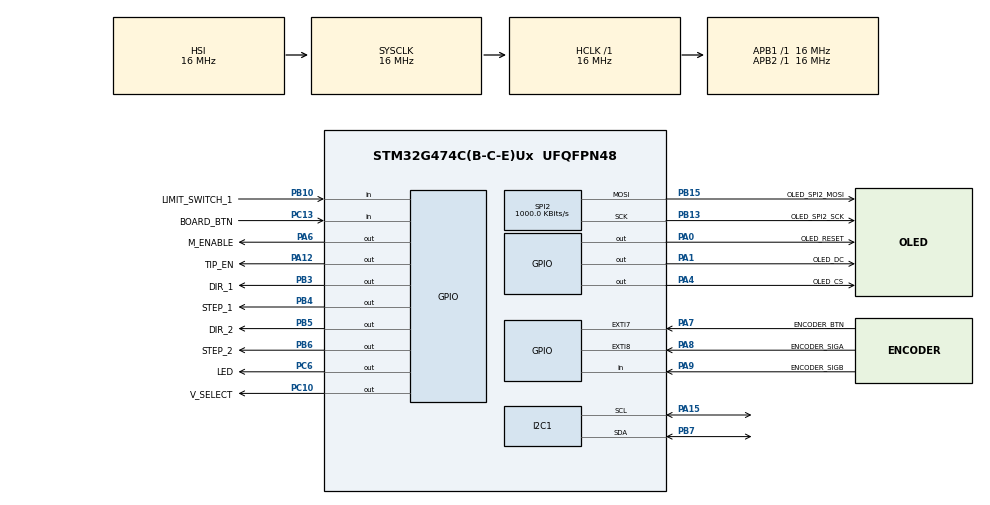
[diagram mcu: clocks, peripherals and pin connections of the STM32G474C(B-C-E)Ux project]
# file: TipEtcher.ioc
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I2C1.Timing=0x00503D58
Mcu.Family=STM32G4
Mcu.Name=STM32G474C(B-C-E)Ux
Mcu.Package=UFQFPN48
NVIC.EXTI9_5_IRQn=true\:0\:0\:false\:false\:true\:true\:true\:true
NVIC.PriorityGroup=NVIC_PRIORITYGROUP_4
NVIC.TIM2_IRQn=true\:0\:0\:false\:false\:true\:true\:true\:true
PA0.GPIO_Label=OLED_RESET
PA0.Signal=GPIO_Output
PA1.GPIO_Label=OLED_DC
PA1.Signal=GPIO_Output
PA12.GPIO_Label=TIP_EN
PA12.Signal=GPIO_Output
PA15.Mode=I2C
PA15.Signal=I2C1_SCL
PA4.GPIO_Label=OLED_CS
PA4.Signal=GPIO_Output
PA6.GPIO_Label=M_ENABLE
PA6.Signal=GPIO_Output
PA7.GPIO_Label=ENCODER_BTN
PA7.GPIO_ModeDefaultEXTI=GPIO_MODE_IT_FALLING
PA7.Signal=GPXTI7
PA8.GPIO_Label=ENCODER_SIGA
PA8.GPIO_ModeDefaultEXTI=GPIO_MODE_IT_RISING_FALLING
PA8.Signal=GPXTI8
PA9.GPIO_Label=ENCODER_SIGB
PA9.Signal=GPIO_Input
PB10.GPIO_Label=LIMIT_SWITCH_1
PB10.Signal=GPIO_Input
PB13.GPIO_Label=OLED_SPI2_SCK
PB13.Mode=TX_Only_Simplex_Unidirect_Master
PB13.Signal=SPI2_SCK
PB15.GPIO_Label=OLED_SPI2_MOSI
PB15.Mode=TX_Only_Simplex_Unidirect_Master
PB15.Signal=SPI2_MOSI
PB3.GPIO_Label=DIR_1
PB3.Signal=GPIO_Output
PB4.GPIO_Label=STEP_1
PB4.Signal=GPIO_Output
PB5.GPIO_Label=DIR_2
PB5.Signal=GPIO_Output
PB6.GPIO_Label=STEP_2
PB6.Signal=GPIO_Output
PB7.Mode=I2C
PB7.Signal=I2C1_SDA
PC10.GPIO_Label=V_SELECT
PC10.Signal=GPIO_Output
PC13.GPIO_Label=BOARD_BTN
PC13.Signal=GPIO_Input
PC6.GPIO_Label=LED
PC6.Signal=GPIO_Output
ProjectManager.HeapSize=0x200
ProjectManager.StackSize=0x400
ProjectManager.TargetToolchain=STM32CubeIDE
RCC.AHBFreq_Value=16000000
RCC.APB1Freq_Value=16000000
RCC.APB1TimFreq_Value=16000000
RCC.APB2Freq_Value=16000000
RCC.APB2TimFreq_Value=16000000
RCC.CortexFreq_Value=16000000
RCC.EXTERNAL_CLOCK_VALUE=12288000
RCC.HCLKFreq_Value=16000000
RCC.HSE_VALUE=8000000
RCC.HSI48_VALUE=48000000
RCC.HSI_VALUE=16000000
RCC.LSE_VALUE=32768
RCC.SYSCLKFreq_VALUE=16000000
RCC.USBFreq_Value=64000000
RCC.VCOOutputFreq_Value=128000000
SPI2.BaudRatePrescaler=SPI_BAUDRATEPRESCALER_16
SPI2.CLKPhase=SPI_PHASE_2EDGE
SPI2.CLKPolarity=SPI_POLARITY_HIGH
SPI2.CalculateBaudRate=1000.0 KBits/s
SPI2.DataSize=SPI_DATASIZE_8BIT
SPI2.Direction=SPI_DIRECTION_2LINES
SPI2.Mode=SPI_MODE_MASTER
SPI2.VirtualType=VM_MASTER
TIM2.Channel-Output\ Compare1\ No\ Output=TIM_CHANNEL_1
TIM2.PeriodNoDither=31999
TIM2.Prescaler=0
VP_SYS_VS_DBSignals.Mode=DisableDeadBatterySignals
VP_TIM2_VS_no_output1.Mode=Output Compare1 No Output
board=custom

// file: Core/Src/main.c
/* USER CODE BEGIN Header */
/**
  ******************************************************************************
  * @file           : main.c
  * @brief          : Main program body
  ******************************************************************************
  * @attention
  *
  * Copyright (c) 2025 STMicroelectronics.
  * All rights reserved.
  *
  * This software is licensed under terms that can be found in the LICENSE file
  * in the root directory of this software component.
  * If no LICENSE file comes with this software, it is provided AS-IS.
  *
  ******************************************************************************
  */
/* USER CODE END Header */
#include "main.h"

/* USER CODE BEGIN Includes */

#include <stdio.h>

#include "NaMiMenu_lib/NaMiMenu.h"
/* USER CODE END Includes */

I2C_HandleTypeDef hi2c1;

SPI_HandleTypeDef hspi2;

TIM_HandleTypeDef htim2;

void SystemClock_Config(void);
static void MX_GPIO_Init(void);
static void MX_SPI2_Init(void);
static void MX_TIM2_Init(void);
static void MX_I2C1_Init(void);

/* USER CODE BEGIN 0 */
// OLED VARIABLES

// TIP ETCHER VARIBLES

uint16_t var_etchTime = 60;   // s
uint16_t var_depth    = 5000; // um
uint16_t var_step     = 20;   // um
uint16_t var_polishTime = 0; // ms

uint64_t etchTime_cnt = 0;
uint64_t stepTime_cnt = 0;

uint16_t polishTime_cnt = 0;
int etchStartPosition = 0;

//

uint16_t var_current = 100;
uint8_t progress_bar = 0;

double test_chart_data[100] = {
	//0, 1, 2, 4, 8, 16, 20, 28, 24, -10, -5, -4, -3, -2, -1, -14, -15, -20, -20, -20, 15, 16, 17
};

uint8_t dataCounter = 0;
uint8_t iterator = 0;

Chart test_chart = {
		test_chart_data,
		sizeof(test_chart_data) / sizeof(double),
		50,
		0
};

ProgressBar bar1 = {255 / 2, 0};

typedef struct Motor {
	int pos;
	int setPos;
    GPIO_TypeDef* dir_port;
    uint16_t dir_pin;
    GPIO_TypeDef* step_port;
    uint16_t step_pin;
} Motor;

// 23.2u / krok
Motor Motor1 = {0, 0, DIR_1_GPIO_Port, DIR_1_Pin, STEP_1_GPIO_Port, STEP_1_Pin};
Motor Motor2 = {0, 0, DIR_2_GPIO_Port, DIR_2_Pin, STEP_2_GPIO_Port, STEP_2_Pin};

//uint8_t current_value = 0;

void StateTransision(uint8_t nextState);

void voltage_select(State *state, Clickable *clickable);
void etching_enable(State *state, Clickable *clickable);

void led_toggle(State *state, Clickable *clickable);
void etching_start_stop(State *state, Clickable *clickable);
void settings_toggle_cursor(State *state, Clickable *clickable);
void settings_voltage_select(State *state, Clickable *clickable);
void Update_Menu();
void Update_Settings();
void Update_Manual();
void Motor2_Home();

void Update_Debug();

void INA219_Init();

void INA219_ReadCurrent();

// =======================================================

void Tip_Enable() {
	HAL_GPIO_WritePin(TIP_EN_GPIO_Port, TIP_EN_Pin, 1);
}
void Tip_Disable() {
	HAL_GPIO_WritePin(TIP_EN_GPIO_Port, TIP_EN_Pin, 0);
}
void Tip_5V() {
	HAL_GPIO_WritePin(V_SELECT_GPIO_Port, V_SELECT_Pin, 0);
}
void Tip_24V() {
	HAL_GPIO_WritePin(V_SELECT_GPIO_Port, V_SELECT_Pin, 1);
}

// ETCHING ===============================================

uint8_t etching = 0;
uint16_t etchingTime = 10;
uint16_t currentValue = 0;

double currentValue2 = 0;
double currentMiliAmp = 0;
double minCurrentMiliAmp = 0.4;

double Tip_Current() {
	return currentMiliAmp;
}

uint8_t frame[2] = {0, 0};

enum Etching_States {
	None,
	IDLE,
	HEAD_DOWN,
	TIP_DOWN,
	TIP_EXTEND,
	HOMING,
	APPROACH,
	DIVE,
	ETCH,
	POLISH
};

enum Etching_States currentEtchingState = None;
enum Etching_States nextEtchingState    = None;

void StateTransision(uint8_t nextState) {
	currentEtchingState = nextState;
}

int SelectState(enum Etching_States state) {
	if(nextEtchingState == state && nextEtchingState != currentEtchingState) {
		currentEtchingState = nextEtchingState;
		NAL_NaMiMenu_OLED_Update();
		return 1;
	} return 0;
}

// MENU ===============================================

enum Menu_States {
	NONE,
	Menu,
	Settings,
	Manual,
	Debug
};

Clickable menu_clickable[] = {
	{NONE, NULL, ""},
	{NONE, &etching_start_stop, "Start"},
	{Settings, NULL, "Settings"},
	{Manual, NULL, "Manual"},
	{Debug, NULL, "Debug"},
	{NONE, &INA219_ReadCurrent, "R Current"}
};

Clickable debug_clickable[] = {
	{None, NULL, "Stop"},
	{NONE, NULL, "LowerHead"},
	{NONE, NULL, "LowerTip"},
	{NONE, NULL, "LiftHead"},
	{NONE, NULL, "LowerHeadAndEtch"},
	{Menu, NULL, "Back"}
};

Clickable manual_clickable[] = {
	{NONE, NULL, ""},
	{NONE, &voltage_select, "Relay"},
	{NONE, &NAL_NaMiMenu_Cursor_toggle_freeze, "Motor1"},
	{NONE, &NAL_NaMiMenu_Cursor_toggle_freeze, "Motor2"},
	{NONE, &etching_enable, "Etch. En."},
	{NONE, &Motor2_Home, "Home Motor2"},
	{Menu, NULL, "Back"}
};

Clickable settings_clickable[] = {
	{NONE, &settings_toggle_cursor, "Etching time"},
	{NONE, &settings_toggle_cursor, "Depth"},
	{NONE, &settings_toggle_cursor, "Step"},
	{NONE, &settings_voltage_select, "voltage"},
	{NONE, &settings_toggle_cursor, "Polish time"},
	{NONE, &settings_toggle_cursor, "Max current"},
	{Menu, NULL, "Back"}
};

State states[] = {
	{Menu, &Update_Menu, menu_clickable, ARRAY_SIZE(menu_clickable)},
	{Settings, &Update_Settings, settings_clickable, ARRAY_SIZE(settings_clickable)},
	{Manual, &Update_Manual, manual_clickable, ARRAY_SIZE(manual_clickable)},
	{Debug, &Update_Debug, debug_clickable, ARRAY_SIZE(debug_clickable)}
};

int voltageSelection = 0;

void settings_voltage_select(State *state, Clickable *clickable) {
	voltageSelection = !voltageSelection;
}

void Update_Debug() { }

void Update_Menu() {

	//NAL_draw_indicator_in_grid(HAL_GPIO_ReadPin(LED_GPIO_Port, LED_Pin), 13, 0, 5);
	//NAL_draw_text_in_grid("5V", 14, 0, 5);
	//NAL_draw_indicator_in_grid(!HAL_GPIO_ReadPin(LED_GPIO_Port, LED_Pin), 13, 1, 5);
	//NAL_draw_text_in_grid("24V", 14, 1, 5);

	char text1[24];
	//sprintf(text1, "%d", currentValue);

	int miliAmp = currentValue2 / 1000.0;
	int nanoAmp = (int)((currentValue2 - miliAmp * 1000.0));

	char nanoAmpText[16];

	if(miliAmp < 0)
		miliAmp = 0;

	if(nanoAmp < 0)
		nanoAmp = 0;

	if(nanoAmp >= 100)
		sprintf(nanoAmpText, "%d", nanoAmp);
	if(nanoAmp < 100)
		sprintf(nanoAmpText, "0%d", nanoAmp);
	else if(nanoAmp < 10)
		sprintf(nanoAmpText, "00%d", nanoAmp);
	else if(nanoAmp < 1)
		sprintf(nanoAmpText, "000");

	sprintf(text1, "%d,%s mA", miliAmp, nanoAmpText);
	//sprintf(text1, "%d | %d", frame[0], frame[1]);
	NAL_draw_text_in_grid(text1, 8, 0, 5);
	test_chart_data[dataCounter++ % 100] = miliAmp;

	if(!etching)
		NAL_draw_text_in_grid("Idle", 5, 0, 5);
	else {
		sprintf(text1, "T: %d", var_etchTime - etchTime_cnt * 2 / 1000);
		NAL_draw_text_in_grid(text1, 5, 0, 5);
	}

	NAL_draw_chart_in_grid(&test_chart, 5, 1, 8, 3, 5);

	//NAL_draw_progress_bar(&bar1);
}

void Update_Settings() {
	char text1[16];

	// Etching time
	sprintf(text1, "%d s", var_etchTime);
	NAL_draw_text_in_grid(text1, 8, 0, 5);
	// Depth
	sprintf(text1, "%d um", var_depth);
	NAL_draw_text_in_grid(text1, 8, 1, 5);
	// Step
	sprintf(text1, "%d um", var_step);
	NAL_draw_text_in_grid(text1, 8, 2, 5);
	// Voltage Selection
	if(voltageSelection) {
		NAL_draw_text_in_grid("5 V", 8, 3, 5);
	} else {
		NAL_draw_text_in_grid("24 V", 8, 3, 5);
	}
	// Max current
	//sprintf(text1, "%d mA", var_current);
	//NAL_draw_text_in_grid(text1, 8, 3, 5);
	// Polish time
	sprintf(text1, "%d ms", var_polishTime);
	NAL_draw_text_in_grid(text1, 12, 0, 5);
}

void Update_Manual() {
	NAL_draw_indicator_in_grid(!HAL_GPIO_ReadPin(V_SELECT_GPIO_Port, V_SELECT_Pin), 8, 0, 5);
	NAL_draw_text_in_grid("5V", 9, 0, 5);
	NAL_draw_indicator_in_grid(HAL_GPIO_ReadPin(V_SELECT_GPIO_Port, V_SELECT_Pin), 11, 0, 5);
	NAL_draw_text_in_grid("24V", 12, 0, 5);
	//
	NAL_draw_indicator_in_grid(!HAL_GPIO_ReadPin(LIMIT_SWITCH_1_GPIO_Port, LIMIT_SWITCH_1_Pin), 7, 2, 5);
	char text1[16];
	sprintf(text1, "%d", Motor1.setPos);
	NAL_draw_text_in_grid(text1, 8, 1, 5);
//	sprintf(text1, "%d", Motor1.pos);
//	NAL_draw_text_in_grid(text1, 12, 1, 5);
	//
	sprintf(text1, "%d", Motor2.setPos);
	NAL_draw_text_in_grid(text1, 8, 2, 5);
//	sprintf(text1, "%d", Motor2.pos);
//	NAL_draw_text_in_grid(text1, 12, 2, 5);
	//
	NAL_draw_indicator_in_grid(HAL_GPIO_ReadPin(TIP_EN_GPIO_Port, TIP_EN_Pin), 8, 3, 5);
	NAL_draw_text_in_grid("Electrode", 9, 3, 5);
}

void Motor2_Home() {
	Motor2.setPos = 10000;
}

void voltage_select(State *state, Clickable *clickable) {
	HAL_GPIO_TogglePin(V_SELECT_GPIO_Port, V_SELECT_Pin);
}

void etching_enable(State *state, Clickable *clickable) {
	HAL_GPIO_TogglePin(TIP_EN_GPIO_Port, TIP_EN_Pin);
}

void led_toggle(State *state, Clickable *clickable) {
	HAL_GPIO_TogglePin(LED_GPIO_Port, LED_Pin);
}

uint8_t motor1Pos;

void etching_start_stop(State *state, Clickable *clickable) {
	etching = !etching;

	if(etching) {
		//clickable->text = "Stop";
		//NAL_NaMiMenu_Cursor_freeze();
		//currentEtchingState = HEAD_DOWN;
		motor1Pos = Motor1.setPos;
	}
	else {
		//clickable->text = "Start";
		//NAL_NaMiMenu_Cursor_unfreeze();
	}
}

void settings_toggle_cursor(State *state, Clickable *clickable) {
	NAL_NaMiMenu_Cursor_toggle_freeze();
}

void NAL_FrozenCursorMove_Callback(State *state, Clickable *clickable) {

	if(state->state == Settings) {

		switch(NAL_NaMiMenu_CursorPos()) {
		case 0: // Etching time
			var_etchTime = NAL_NaMiMenu_CursorDir() ? var_etchTime + 1 : var_etchTime - 1;
			break;
		case 1: // Depth
			var_depth = NAL_NaMiMenu_CursorDir() ? var_depth + 100 : var_depth - 100;
			break;
		case 2: // Step
			var_step = NAL_NaMiMenu_CursorDir() ? var_step + 5 : var_step - 5;
			break;
		case 5: // Max current
			//if(NAL_NaMiMenu_CursorDir()) { var_current++; } else { var_current--; }
			var_current = NAL_NaMiMenu_CursorDir() ? var_current + 1 : var_current - 1;
			break;
		case 4: // Polish time
			var_polishTime = NAL_NaMiMenu_CursorDir() ? var_polishTime + 10 : var_polishTime - 10;
			break;
		}
	}

	if(state->state == Manual) {
		if(NAL_NaMiMenu_CursorPos() == 2) {
			if(NAL_NaMiMenu_CursorDir()) {
				Motor1.setPos += 100;
			} else {
				Motor1.setPos -= 100;
			}
		}

		if(NAL_NaMiMenu_CursorPos() == 3) {
			if(NAL_NaMiMenu_CursorDir()) {
				Motor2.setPos += 10;
			} else {
				Motor2.setPos -= 10;
			}
		}
	}

	if(state->state == Menu && NAL_NaMiMenu_CursorPos() == 1) {
		if(NAL_NaMiMenu_CursorDir()) {
			if(bar1.value < 255)
				bar1.value += 15;
		} else {
			if(bar1.value > 0)
				bar1.value -= 15;
		}
	}
}

// Callback do wywołania przed wysłaniem buffera do OLED'a

void MoveMotor(Motor *motor) {

	if(motor->pos != motor->setPos) {

		if(motor->pos < motor->setPos) {
			HAL_GPIO_WritePin(motor->dir_port, motor->dir_pin, 0);
			motor->pos++;

			if(!HAL_GPIO_ReadPin(LIMIT_SWITCH_1_GPIO_Port, LIMIT_SWITCH_1_Pin) && motor == &Motor2) {
				Motor2.pos = 0;
				Motor2.setPos = 0;
			}
		} else {
			if(motor == &Motor2 && motor->pos <= -2400) {
				return;
			}
			HAL_GPIO_WritePin(motor->dir_port, motor->dir_pin, 1);
			motor->pos--;
		}

		HAL_GPIO_WritePin(motor->step_port, motor->step_pin, 1);
		HAL_GPIO_WritePin(motor->step_port, motor->step_pin, 0);
	}

}

uint16_t tim_cnt = 0;
uint16_t debounce = 0;

void HAL_TIM_PeriodElapsedCallback(TIM_HandleTypeDef *htim) {
	if(htim == &htim2) { // Updates every 2 ms

		debounce++;

		if(currentEtchingState == ETCH)
			etchingTime++;

		tim_cnt++;
		if((tim_cnt >= 250) && HAL_GPIO_ReadPin(TIP_EN_GPIO_Port, TIP_EN_Pin)) {
			//NAL_NaMiMenu_OLED_Update();
			if(currentEtchingState == ETCH || currentEtchingState == IDLE) {
				INA219_ReadCurrent();
				NAL_NaMiMenu_OLED_Update();
			}
			tim_cnt = 0;
		}

		if(etching && currentEtchingState == ETCH) {
			etchTime_cnt++;
			stepTime_cnt++;
		}

		if(currentEtchingState == POLISH && Motor2.pos == etchStartPosition) {
			polishTime_cnt++;
		}

		MoveMotor(&Motor1);

		MoveMotor(&Motor2);
	}
}

int Motor2_MaxPos() {
	return Motor2.pos <= -2400;
}

int M1startingPos = 0;
int M1maxPos = 12; // mm

int Motor1_MaxPos() {
	return Motor1.pos >= M1startingPos + ((double)(M1maxPos) / 0.0232);
}

void HAL_GPIO_EXTI_Callback(uint16_t GPIO_Pin)
{
	if(GPIO_Pin == NaMiMenu_ENC_BTN.pin && debounce > 10) {
		NAL_NaMiMenu_Encoder_Update(GPIO_Pin);
		debounce = 0;
	} else if(GPIO_Pin != NaMiMenu_ENC_BTN.pin)
		NAL_NaMiMenu_Encoder_Update(GPIO_Pin);
}

void INA219_Init() {
    uint8_t calibration[2];
    uint16_t cal;

    double R_SHUNT = 0.16; // 0.33;  // Ω
    double maxAmp = 0.3;    //

    double current_lsb = maxAmp / 32767.0;
    cal = (uint16_t)(0.04096 / (current_lsb * R_SHUNT));

    calibration[0] = (uint8_t)(cal >> 8);
    calibration[1] = (uint8_t) cal;

    // Zapis kalibracji
    HAL_I2C_Mem_Write(&hi2c1, (0x40 << 1), 0x05, I2C_MEMADD_SIZE_8BIT, calibration, 2, HAL_MAX_DELAY);

    // Ustawienie trybu: 32V / 320mV / 12bit / ciągły
    uint8_t config[2] = {0x01, 0x9F};
    HAL_I2C_Mem_Write(&hi2c1, (0x40 << 1), 0x00, I2C_MEMADD_SIZE_8BIT, config, 2, HAL_MAX_DELAY);
}

void INA219_ReadCurrent() {
    uint8_t data[2];

    HAL_I2C_Mem_Read(&hi2c1, (0x40 << 1), 0x04, I2C_MEMADD_SIZE_8BIT, data, 2, HAL_MAX_DELAY);

    int16_t rawCurrent = (int16_t)((data[0] << 8) | data[1]);

    frame[0] = data[0];
    frame[1] = data[1];

    //double R_SHUNT = 100.0;
    double maxAmp = 0.3;
    double current_lsb = maxAmp / 32767.0;

    double current_A = rawCurrent * current_lsb;

    currentValue2 = current_A * 1000000.0;
    currentMiliAmp = currentValue2 / 1000.0;
}

/* USER CODE END 0 */

int main(void)
{

  /* MCU Configuration--------------------------------------------------------*/

  /* Reset of all peripherals, Initializes the Flash interface and the Systick. */
  HAL_Init();

  /* Configure the system clock */
  SystemClock_Config();

  /* Initialize all configured peripherals */
  MX_GPIO_Init();
  MX_SPI2_Init();
  MX_TIM2_Init();
  MX_I2C1_Init();
  /* USER CODE BEGIN 2 */

  HAL_GPIO_WritePin(LED_GPIO_Port, LED_Pin, 1);

  HAL_TIM_Base_Start_IT(&htim2);

  NAL_NaMiMenu_init(OLED_CS_GPIO_Port, OLED_CS_Pin, OLED_DC_GPIO_Port, OLED_DC_Pin, OLED_RESET_GPIO_Port, OLED_RESET_Pin, &hspi2);
  NAL_NaMiMenu_setMenuStates(states, sizeof(states) / sizeof(State));
  NAL_NaMiMenu_Encoder_setup(ENCODER_BTN_GPIO_Port, ENCODER_BTN_Pin, ENCODER_SIGA_GPIO_Port, ENCODER_SIGA_Pin, ENCODER_SIGB_GPIO_Port, ENCODER_SIGB_Pin);

  NAL_NaMiMenu_splash_screen("Tip Etcher", "v2.3.0 | in dev");

  // Device initialization

  INA219_Init();

  //

  Transision(Menu);

  HAL_GPIO_WritePin(M_ENABLE_GPIO_Port, M_ENABLE_Pin, 0);

  NAL_NaMiMenu_SetCursorPos(1);

  //if(!HAL_GPIO_ReadPin(LIMIT_SWITCH_1_GPIO_Port, LIMIT_SWITCH_1_Pin))
	  //;//NAL_NaMiMenu_Cursor_freeze();

  //Motor2_Home();

  /* USER CODE END 2 */

  /* Infinite loop */
  /* USER CODE BEGIN WHILE */
  while (1)
  {
	  if(etching)
		  INA219_ReadCurrent();

	  switch(nextEtchingState) {

	  case IDLE:
		  if(SelectState(IDLE)) {
			  Tip_Disable();
			  Tip_5V();
			  Motor2_Home();
			  etchTime_cnt = 0;
			  etching = 0;
			  Motor1.setPos = M1startingPos;
		  }
		  // Klinkięto "Start"
		  if(etching) { nextEtchingState = HEAD_DOWN; M1startingPos = Motor1.pos; }
		  break;

	  case HEAD_DOWN:
		  if(SelectState(HEAD_DOWN)) {
			  Tip_5V();
			  Tip_Enable();
		  }
		  // Wykryto taflę cieczy (przepływa prąd).
		  if(Tip_Current() > minCurrentMiliAmp) { nextEtchingState = TIP_EXTEND; }
		  // Osiągnięto pozycję maksymalną M2.
		  if(Motor2_MaxPos()) { nextEtchingState = TIP_DOWN; }

		  if(Motor2.pos == Motor2.setPos) {
			  Motor2.setPos -= 1;
		  }
		  break;

	  case TIP_DOWN:
		  if(SelectState(TIP_DOWN)) {
			  Tip_5V();
			  Tip_Enable();
		  }
		  if(Motor1.pos == Motor1.setPos) {
			  Motor1.setPos += 1;
		  }
		  // Wykryto taflę cieczy (przepływa prąd).
		  if(Tip_Current() > minCurrentMiliAmp) { nextEtchingState = TIP_EXTEND; }
		  // Osiągnięto pozycję maksymalną M1.
		  if(Motor1_MaxPos()) { nextEtchingState = IDLE; }
		  break;

	  case TIP_EXTEND:
		  if(SelectState(TIP_EXTEND)) {
			  Tip_5V();
			  Tip_Disable();
			  Motor1.setPos += ((double)(var_depth + 500) / 23.2);
		  }
		  // Osiągnięto pozycję maksymalną M1.
		  if(Motor1_MaxPos()) { nextEtchingState = IDLE; }
		  if(Motor1.pos >= M1startingPos + ((double)(var_depth) / 23.2)) { nextEtchingState = HOMING; }
		  break;

	  case HOMING:
		  if(SelectState(HOMING)) {
			  Tip_Disable();
			  Motor2_Home();
		  }
		  if(Motor2.pos == 0) { nextEtchingState = APPROACH; }
		  break;

	  case APPROACH:
		  if(SelectState(APPROACH)) {
			  Tip_5V();
			  Tip_Enable();
		  }
		  // Wykryto taflę cieczy (przepływa prąd).
		  if(Tip_Current() > minCurrentMiliAmp) { nextEtchingState = DIVE; }

		  if(Motor2.pos == Motor2.setPos && !Motor2_MaxPos()) {
			  Motor2.setPos -= 1;
		  }
		  break;

	  case DIVE:
		  if(SelectState(DIVE)) {
			  Tip_5V();
			  Tip_Disable();
			  Motor2.setPos = Motor2.pos - (double)(var_depth) / 5.0;
		  }
		  if(Motor2.pos == Motor2.setPos) { nextEtchingState = ETCH; }
		  break;

	  case ETCH:
		  if(SelectState(ETCH)) {
			  if(voltageSelection)
				  Tip_5V();
			  else
				  Tip_24V();
			  Tip_Enable();
			  etchStartPosition = Motor2.pos;
		  }
		  if(stepTime_cnt * 2 >= ((double)(var_step) / (double)(var_depth * 1.0)) * (var_etchTime * 1000.0)) {
			  stepTime_cnt = 0;
			  Motor2.setPos += (double)(var_step) / 5;
		  }

		  if(etchTime_cnt * 2 >= var_etchTime * 1000.0) {
			  if(var_polishTime > 0)
				  nextEtchingState = POLISH;
			  else
				  nextEtchingState = IDLE;
		  }
		  break;
	  case POLISH:
		  if(SelectState(POLISH)) {
			  Motor2.setPos = etchStartPosition;
			  Tip_Disable();
		  }

		  if(Motor2.pos == etchStartPosition) {
			  if(polishTime_cnt * 2 >= var_polishTime) {
				  nextEtchingState = IDLE;
			  } else {
				  Tip_24V();
				  Tip_Enable();
			  }
		  }

		  break;
	  default:
	  case None:
		  NAL_NaMiMenu_OLED_Update();
		  nextEtchingState = IDLE;
		  break;
	  }

	  if(!etching) {
		  nextEtchingState = IDLE;
	  }

    /* USER CODE END WHILE */

  }
}

void SystemClock_Config(void)
{
  RCC_OscInitTypeDef RCC_OscInitStruct = {0};
  RCC_ClkInitTypeDef RCC_ClkInitStruct = {0};

  /** Configure the main internal regulator output voltage
  */
  HAL_PWREx_ControlVoltageScaling(PWR_REGULATOR_VOLTAGE_SCALE1);

  /** Initializes the RCC Oscillators according to the specified parameters
  * in the RCC_OscInitTypeDef structure.
  */
  RCC_OscInitStruct.OscillatorType = RCC_OSCILLATORTYPE_HSI;
  RCC_OscInitStruct.HSIState = RCC_HSI_ON;
  RCC_OscInitStruct.HSICalibrationValue = RCC_HSICALIBRATION_DEFAULT;
  RCC_OscInitStruct.PLL.PLLState = RCC_PLL_NONE;
  if (HAL_RCC_OscConfig(&RCC_OscInitStruct) != HAL_OK)
  {
    Error_Handler();
  }

  /** Initializes the CPU, AHB and APB buses clocks
  */
  RCC_ClkInitStruct.ClockType = RCC_CLOCKTYPE_HCLK|RCC_CLOCKTYPE_SYSCLK
                              |RCC_CLOCKTYPE_PCLK1|RCC_CLOCKTYPE_PCLK2;
  RCC_ClkInitStruct.SYSCLKSource = RCC_SYSCLKSOURCE_HSI;
  RCC_ClkInitStruct.AHBCLKDivider = RCC_SYSCLK_DIV1;
  RCC_ClkInitStruct.APB1CLKDivider = RCC_HCLK_DIV1;
  RCC_ClkInitStruct.APB2CLKDivider = RCC_HCLK_DIV1;

  if (HAL_RCC_ClockConfig(&RCC_ClkInitStruct, FLASH_LATENCY_0) != HAL_OK)
  {
    Error_Handler();
  }
}

static void MX_I2C1_Init(void)
{

  hi2c1.Instance = I2C1;
  hi2c1.Init.Timing = 0x00503D58;
  hi2c1.Init.OwnAddress1 = 0;
  hi2c1.Init.AddressingMode = I2C_ADDRESSINGMODE_7BIT;
  hi2c1.Init.DualAddressMode = I2C_DUALADDRESS_DISABLE;
  hi2c1.Init.OwnAddress2 = 0;
  hi2c1.Init.OwnAddress2Masks = I2C_OA2_NOMASK;
  hi2c1.Init.GeneralCallMode = I2C_GENERALCALL_DISABLE;
  hi2c1.Init.NoStretchMode = I2C_NOSTRETCH_DISABLE;
  if (HAL_I2C_Init(&hi2c1) != HAL_OK)
  {
    Error_Handler();
  }

  /** Configure Analogue filter
  */
  if (HAL_I2CEx_ConfigAnalogFilter(&hi2c1, I2C_ANALOGFILTER_ENABLE) != HAL_OK)
  {
    Error_Handler();
  }

  /** Configure Digital filter
  */
  if (HAL_I2CEx_ConfigDigitalFilter(&hi2c1, 0) != HAL_OK)
  {
    Error_Handler();
  }

}

static void MX_SPI2_Init(void)
{

  /* SPI2 parameter configuration*/
  hspi2.Instance = SPI2;
  hspi2.Init.Mode = SPI_MODE_MASTER;
  hspi2.Init.Direction = SPI_DIRECTION_2LINES;
  hspi2.Init.DataSize = SPI_DATASIZE_8BIT;
  hspi2.Init.CLKPolarity = SPI_POLARITY_HIGH;
  hspi2.Init.CLKPhase = SPI_PHASE_2EDGE;
  hspi2.Init.NSS = SPI_NSS_SOFT;
  hspi2.Init.BaudRatePrescaler = SPI_BAUDRATEPRESCALER_16;
  hspi2.Init.FirstBit = SPI_FIRSTBIT_MSB;
  hspi2.Init.TIMode = SPI_TIMODE_DISABLE;
  hspi2.Init.CRCCalculation = SPI_CRCCALCULATION_DISABLE;
  hspi2.Init.CRCPolynomial = 7;
  hspi2.Init.CRCLength = SPI_CRC_LENGTH_DATASIZE;
  hspi2.Init.NSSPMode = SPI_NSS_PULSE_DISABLE;
  if (HAL_SPI_Init(&hspi2) != HAL_OK)
  {
    Error_Handler();
  }

}

static void MX_TIM2_Init(void)
{

  TIM_MasterConfigTypeDef sMasterConfig = {0};
  TIM_OC_InitTypeDef sConfigOC = {0};

  htim2.Instance = TIM2;
  htim2.Init.Prescaler = 0;
  htim2.Init.CounterMode = TIM_COUNTERMODE_UP;
  htim2.Init.Period = 31999;
  htim2.Init.ClockDivision = TIM_CLOCKDIVISION_DIV1;
  htim2.Init.AutoReloadPreload = TIM_AUTORELOAD_PRELOAD_DISABLE;
  if (HAL_TIM_OC_Init(&htim2) != HAL_OK)
  {
    Error_Handler();
  }
  sMasterConfig.MasterOutputTrigger = TIM_TRGO_RESET;
  sMasterConfig.MasterSlaveMode = TIM_MASTERSLAVEMODE_DISABLE;
  if (HAL_TIMEx_MasterConfigSynchronization(&htim2, &sMasterConfig) != HAL_OK)
  {
    Error_Handler();
  }
  sConfigOC.OCMode = TIM_OCMODE_TIMING;
  sConfigOC.Pulse = 0;
  sConfigOC.OCPolarity = TIM_OCPOLARITY_HIGH;
  sConfigOC.OCFastMode = TIM_OCFAST_DISABLE;
  if (HAL_TIM_OC_ConfigChannel(&htim2, &sConfigOC, TIM_CHANNEL_1) != HAL_OK)
  {
    Error_Handler();
  }

}

static void MX_GPIO_Init(void)
{
  GPIO_InitTypeDef GPIO_InitStruct = {0};

  /* GPIO Ports Clock Enable */
  __HAL_RCC_GPIOC_CLK_ENABLE();
  __HAL_RCC_GPIOA_CLK_ENABLE();
  __HAL_RCC_GPIOB_CLK_ENABLE();

  /*Configure GPIO pin Output Level */
  HAL_GPIO_WritePin(GPIOA, OLED_RESET_Pin|OLED_DC_Pin|OLED_CS_Pin|M_ENABLE_Pin
                          |TIP_EN_Pin, GPIO_PIN_RESET);

  /*Configure GPIO pin Output Level */
  HAL_GPIO_WritePin(GPIOC, LED_Pin|V_SELECT_Pin, GPIO_PIN_RESET);

  /*Configure GPIO pin Output Level */
  HAL_GPIO_WritePin(GPIOB, DIR_1_Pin|STEP_1_Pin|DIR_2_Pin|STEP_2_Pin, GPIO_PIN_RESET);

  /*Configure GPIO pin : BOARD_BTN_Pin */
  GPIO_InitStruct.Pin = BOARD_BTN_Pin;
  GPIO_InitStruct.Mode = GPIO_MODE_INPUT;
  GPIO_InitStruct.Pull = GPIO_NOPULL;
  HAL_GPIO_Init(BOARD_BTN_GPIO_Port, &GPIO_InitStruct);

  /*Configure GPIO pins : OLED_RESET_Pin OLED_DC_Pin OLED_CS_Pin M_ENABLE_Pin
                           TIP_EN_Pin */
  GPIO_InitStruct.Pin = OLED_RESET_Pin|OLED_DC_Pin|OLED_CS_Pin|M_ENABLE_Pin
                          |TIP_EN_Pin;
  GPIO_InitStruct.Mode = GPIO_MODE_OUTPUT_PP;
  GPIO_InitStruct.Pull = GPIO_NOPULL;
  GPIO_InitStruct.Speed = GPIO_SPEED_FREQ_LOW;
  HAL_GPIO_Init(GPIOA, &GPIO_InitStruct);

  /*Configure GPIO pin : ENCODER_BTN_Pin */
  GPIO_InitStruct.Pin = ENCODER_BTN_Pin;
  GPIO_InitStruct.Mode = GPIO_MODE_IT_FALLING;
  GPIO_InitStruct.Pull = GPIO_NOPULL;
  HAL_GPIO_Init(ENCODER_BTN_GPIO_Port, &GPIO_InitStruct);

  /*Configure GPIO pin : LIMIT_SWITCH_1_Pin */
  GPIO_InitStruct.Pin = LIMIT_SWITCH_1_Pin;
  GPIO_InitStruct.Mode = GPIO_MODE_INPUT;
  GPIO_InitStruct.Pull = GPIO_NOPULL;
  HAL_GPIO_Init(LIMIT_SWITCH_1_GPIO_Port, &GPIO_InitStruct);

  /*Configure GPIO pins : LED_Pin V_SELECT_Pin */
  GPIO_InitStruct.Pin = LED_Pin|V_SELECT_Pin;
  GPIO_InitStruct.Mode = GPIO_MODE_OUTPUT_PP;
  GPIO_InitStruct.Pull = GPIO_NOPULL;
  GPIO_InitStruct.Speed = GPIO_SPEED_FREQ_LOW;
  HAL_GPIO_Init(GPIOC, &GPIO_InitStruct);

  /*Configure GPIO pin : ENCODER_SIGA_Pin */
  GPIO_InitStruct.Pin = ENCODER_SIGA_Pin;
  GPIO_InitStruct.Mode = GPIO_MODE_IT_RISING_FALLING;
  GPIO_InitStruct.Pull = GPIO_NOPULL;
  HAL_GPIO_Init(ENCODER_SIGA_GPIO_Port, &GPIO_InitStruct);

  /*Configure GPIO pin : ENCODER_SIGB_Pin */
  GPIO_InitStruct.Pin = ENCODER_SIGB_Pin;
  GPIO_InitStruct.Mode = GPIO_MODE_INPUT;
  GPIO_InitStruct.Pull = GPIO_NOPULL;
  HAL_GPIO_Init(ENCODER_SIGB_GPIO_Port, &GPIO_InitStruct);

  /*Configure GPIO pins : DIR_1_Pin STEP_1_Pin DIR_2_Pin STEP_2_Pin */
  GPIO_InitStruct.Pin = DIR_1_Pin|STEP_1_Pin|DIR_2_Pin|STEP_2_Pin;
  GPIO_InitStruct.Mode = GPIO_MODE_OUTPUT_PP;
  GPIO_InitStruct.Pull = GPIO_NOPULL;
  GPIO_InitStruct.Speed = GPIO_SPEED_FREQ_LOW;
  HAL_GPIO_Init(GPIOB, &GPIO_InitStruct);

  /* EXTI interrupt init*/
  HAL_NVIC_SetPriority(EXTI9_5_IRQn, 0, 0);
  HAL_NVIC_EnableIRQ(EXTI9_5_IRQn);

}

void Error_Handler(void)
{
  __disable_irq();
  while (1)
  {
  }
}
